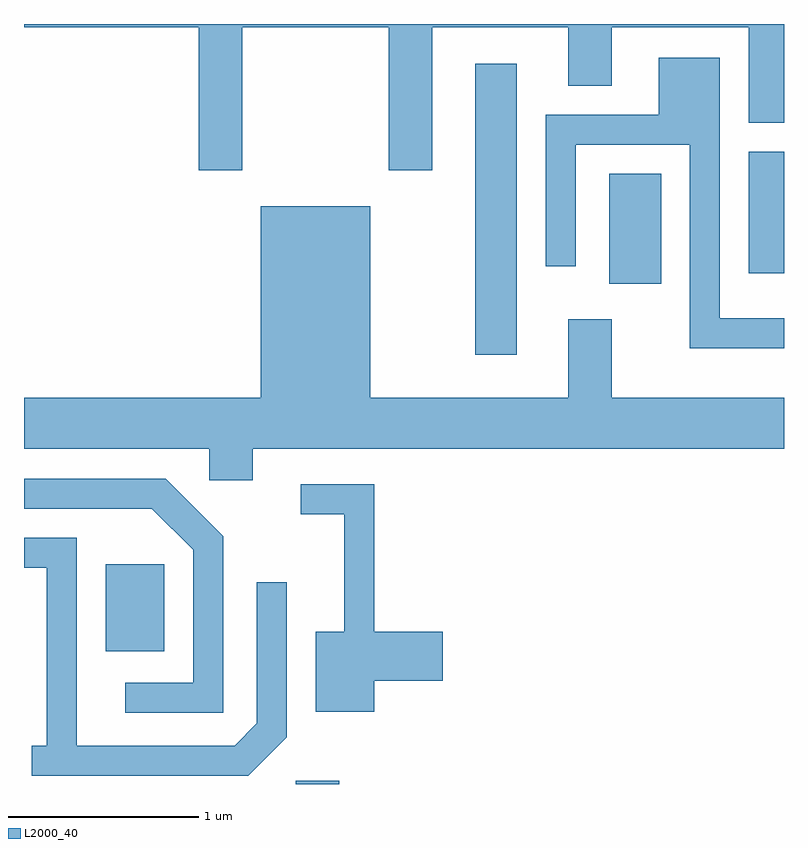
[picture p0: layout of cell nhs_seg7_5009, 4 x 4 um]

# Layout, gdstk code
import gdstk
lib = gdstk.Library(unit=1e-6, precision=1e-09)
def R(c, l, rs):  # rectangles x0, y0, x1, y1
    for r in rs: c.add(gdstk.rectangle(r[:2], r[2:], *l))
def P(c, l, *ps):  # polygons
    for p in ps: c.add(gdstk.Polygon(p, *l))
L2000_40 = (2000, 40)

nhs_seg7_5009 = lib.new_cell('nhs_seg7_5009')
R(nhs_seg7_5009, L2000_40, [(339.041,1790.252,339.269,1790.269), (338.041,1790.951,338.349,1791.409), (339.986,1792.511,340.204,1794.044), (340.691,1792.886,340.964,1793.464), (341.426,1792.941,341.611,1793.579)])
P(nhs_seg7_5009, L2000_40, [(338.759,1794.236),(339.531,1794.236),(339.531,1793.481),(339.759,1793.481),(339.759,1794.236),(340.476,1794.236),(340.476,1793.926),(340.704,1793.926),(340.704,1794.236),(341.426,1794.236),(341.426,1793.731),(341.611,1793.731),(341.611,1794.252),(337.611,1794.252),(337.611,1794.236),(338.531,1794.236),(338.531,1793.481),(338.759,1793.481)],
  [(341.611,1792.704),(341.274,1792.704),(341.274,1794.074),(340.951,1794.074),(340.951,1793.774),(340.356,1793.774),(340.356,1792.978),(340.514,1792.978),(340.514,1793.616),(341.116,1793.616),(341.116,1792.546),(341.611,1792.546)],
  [(338.814,1792.016),(341.611,1792.016),(341.611,1792.284),(340.704,1792.284),(340.704,1792.699),(340.476,1792.699),(340.476,1792.284),(339.434,1792.284),(339.434,1793.294),(338.856,1793.294),(338.856,1792.284),(337.611,1792.284),(337.611,1792.016),(338.586,1792.016),(338.586,1791.851),(338.814,1791.851)],
  [(338.659,1791.557),(338.357,1791.859),(337.611,1791.859),(337.611,1791.701),(338.284,1791.701),(338.501,1791.484),(338.501,1790.784),(338.143,1790.784),(338.143,1790.626),(338.659,1790.626)],
  [(339.454,1790.796),(339.814,1790.796),(339.814,1791.054),(339.454,1791.054),(339.454,1791.829),(339.068,1791.829),(339.068,1791.671),(339.296,1791.671),(339.296,1791.054),(339.146,1791.054),(339.146,1790.631),(339.454,1790.631)],
  [(338.994,1790.499),(338.994,1791.313),(338.836,1791.313),(338.836,1790.572),(338.719,1790.454),(337.889,1790.454),(337.889,1791.549),(337.611,1791.549),(337.611,1791.391),(337.731,1791.391),(337.731,1790.454),(337.653,1790.454),(337.653,1790.296),(338.792,1790.296)])

lib.write_gds('nhs_seg7_5009.gds')
